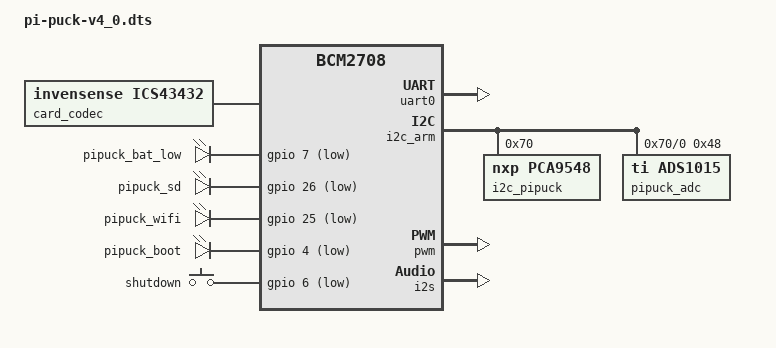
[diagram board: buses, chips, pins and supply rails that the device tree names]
/dts-v1/;
/plugin/;

/ {
	compatible = "brcm,bcm2708";

	/* LEDs (on Raspberry Pi pins) */
	fragment@0 {
		target-path = "/soc";
		__overlay__ {
			pipuck_leds {
				compatible = "gpio-leds";
				pipuck_bat_low {
					label = "pipuck_bat_low";
					gpios = <&gpio 7 1>;
					linux,default-trigger = "none";
					default-state = "off";
				};
				pipuck_sd {
					label = "pipuck_sd";
					gpios = <&gpio 26 1>;
					linux,default-trigger = "mmc0";
				};
				pipuck_wifi {
					label = "pipuck_wifi";
					gpios = <&gpio 25 1>;
					linux,default-trigger = "phy0rxtx";
				};
				pipuck_boot {
					label = "pipuck_boot";
					gpios = <&gpio 4 1>;
					linux,default-trigger = "heartbeat";
				};
			};
		};
	};

	/* Shutdown button key */
	fragment@1 {
		target-path = "/soc";
		__overlay__ {
			pipuck_shutdown_key {
				compatible = "gpio-keys";
				pipuck_shutdown: pipuck_shutdown {
					label = "shutdown";
					linux,code = <116>; // KEY_POWER
					gpios = <&gpio 6 1>;
					debounce-interval = <1000>;
				};
			};
		};
	};

	/* Disable Bluetooth to free up UART */
	fragment@2 {
		target = <&uart1>;
		__overlay__ {
			status = "disabled";
		};
	};
	fragment@3 {
		target = <&uart0>;
		__overlay__ {
			pinctrl-names = "default";
			pinctrl-0 = <&uart0_pins>;
			status = "okay";
		};
	};
	fragment@4 {
		target = <&uart0_pins>;
		__overlay__ {
			brcm,pins;
			brcm,function;
			brcm,pull;
		};
	};
	fragment@5 {
		target-path = "/aliases";
		__overlay__ {
			serial0 = "/soc/serial@7e201000";
			serial1 = "/soc/serial@7e215040";
		};
	};

	/* I2C devices */
	fragment@6 {
		target = <&i2c_arm>;
		__overlay__ {
			#address-cells = <1>;
			#size-cells = <0>;
			status = "okay";
			i2c_pipuck: i2c-switch@70 {
				compatible = "nxp,pca9548";
				#address-cells = <1>;
				#size-cells = <0>;
				reg = <0x70>;
				i2c_pipuck_0: i2c@0 {
					#address-cells = <1>;
					#size-cells = <0>;
					reg = <0>;
					/* Pi-puck board devices */
					/* FT903 I2C slave */
					/* ADC */
					pipuck_adc: ads1015@48 {
						compatible = "ti,ads1015";
						reg = <0x48>;
						#address-cells = <1>;
						#size-cells = <0>;
						pipuck_ain0: channel@4 {
							reg = <4>;
							ti,gain = <0>;
							ti,datarate = <0>;
						};
						pipuck_ain1: channel@5 {
							reg = <5>;
							ti,gain = <0>;
							ti,datarate = <0>;
						};
					};
				};
				i2c_pipuck_1: i2c@1 {
					#address-cells = <1>;
					#size-cells = <0>;
					reg = <1>;
					/* e-puck devices */
				};
				i2c_pipuck_2: i2c@2 {
					#address-cells = <1>;
					#size-cells = <0>;
					reg = <2>;
					/* Sensor Board 1 */
				};
				i2c_pipuck_3: i2c@3 {
					#address-cells = <1>;
					#size-cells = <0>;
					reg = <3>;
					/* Sensor Board 2 */
				};
				i2c_pipuck_4: i2c@4 {
					#address-cells = <1>;
					#size-cells = <0>;
					reg = <4>;
					/* Sensor Board 3 */
				};
				i2c_pipuck_5: i2c@5 {
					#address-cells = <1>;
					#size-cells = <0>;
					reg = <5>;
					/* Sensor Board 4 */
				};
				i2c_pipuck_6: i2c@6 {
					#address-cells = <1>;
					#size-cells = <0>;
					reg = <6>;
					/* e-puck */
					/* Sensor Board 5 */
				};
				i2c_pipuck_7: i2c@7 {
					#address-cells = <1>;
					#size-cells = <0>;
					reg = <7>;
					/* Sensor Board 6 */
				};
			};
		};
	};

	/* External ADC channels */
	fragment@7 {
		target = <&pipuck_adc>;
		__dormant__ {
			#address-cells = <1>;
			#size-cells = <0>;
			pipuck_ain2: channel@6 {
				reg = <6>;
				ti,gain = <2>;
				ti,datarate = <4>;
			};
		};
	};
	fragment@8 {
		target = <&pipuck_adc>;
		__dormant__ {
			#address-cells = <1>;
			#size-cells = <0>;
			pipuck_ain3: channel@7 {
				reg = <7>;
				ti,gain = <2>;
				ti,datarate = <4>;
			};
		};
	};

	/* Audio output */
	fragment@9 {
		target = <&gpio>;
		__overlay__ {
			pwm_pins: pwm_pins {
				brcm,pins = <12>;
				brcm,function = <4>; // Alt0
			};
			pipuck_audio_enable_pins: pipuck_audio_enable_pins {
				brcm,pins = <22>;
				brcm,function = <1>; // GPIO out
			};
		};
	};
	fragment@10 {
		target = <&pwm>;
		__overlay__ {
			pinctrl-names = "default";
			pinctrl-0 = <&pwm_pins &pipuck_audio_enable_pins>;
			status = "okay";
		};
	};

	/* Microphone audio input (based on https://www.raspberrypi.org/forums/viewtopic.php?t=173640) */
	fragment@11 {
		target = <&i2s>;
		__overlay__ {
			status = "okay";
		};
	};
	fragment@12 {
		target-path = "/";
		__overlay__ {
			card_codec: card-codec {
				#sound-dai-cells = <0>;
				compatible = "invensense,ics43432";
				status = "okay";
			};
		};
	};
	fragment@13 {
		target = <&sound>;
		slave_overlay: __overlay__ {
				compatible = "simple-audio-card";
				simple-audio-card,format = "i2s";
				simple-audio-card,name = "pi-puck_mic";
				status = "okay";
				simple-audio-card,cpu {
					sound-dai = <&i2s>;
				};
				dailink0_slave: simple-audio-card,codec {
					sound-dai = <&card_codec>;
				};
		};
	};

	__overrides__ {
		shutdown_key_disable = <0>,"-1";
		shutdown_key_debounce = <&pipuck_shutdown>,"debounce-interval:0";
		uart_disable = <0>,"-2-3-4-5";
		ain2 = <0>,"+7";
		ain2_gain = <&pipuck_ain2>,"ti,gain:0";
		ain2_datarate = <&pipuck_ain2>,"ti,datarate:0";
		ain3 = <0>,"+8";
		ain3_gain = <&pipuck_ain3>,"ti,gain:0";
		ain3_datarate = <&pipuck_ain3>,"ti,datarate:0";
	};
};
